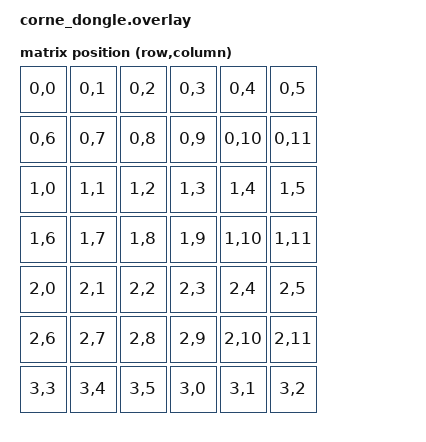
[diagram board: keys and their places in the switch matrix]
#include <dt-bindings/zmk/matrix_transform.h>
#include <layouts/foostan/corne/6column.dtsi>

&foostan_corne_6col_layout {
    transform = <&default_transform>;
};


/ {
    chosen {
        zmk,kscan = &mock_kscan;
        zmk,physical-layout = &foostan_corne_6col_layout;
    };

    default_transform: keymap_transform_0 {
        compatible = "zmk,matrix-transform";
        columns = <12>;
        rows = <4>;
        map = <
            // Row 0: Left then Right
            RC(0,0) RC(0,1) RC(0,2) RC(0,3) RC(0,4) RC(0,5)
            RC(0,6) RC(0,7) RC(0,8) RC(0,9) RC(0,10) RC(0,11)

            // Row 1
            RC(1,0) RC(1,1) RC(1,2) RC(1,3) RC(1,4) RC(1,5)
            RC(1,6) RC(1,7) RC(1,8) RC(1,9) RC(1,10) RC(1,11)

            // Row 2
            RC(2,0) RC(2,1) RC(2,2) RC(2,3) RC(2,4) RC(2,5)
            RC(2,6) RC(2,7) RC(2,8) RC(2,9) RC(2,10) RC(2,11)

            // Thumbs: Left (3) then Right (3)
            RC(3,3) RC(3,4) RC(3,5)  RC(3,0) RC(3,1) RC(3,2)
        >;
    };


    mock_kscan: mock_kscan_0 {
        compatible = "zmk,kscan-mock";
        columns = <0>;
        rows = <0>;
        events = <0>;
    };
};
